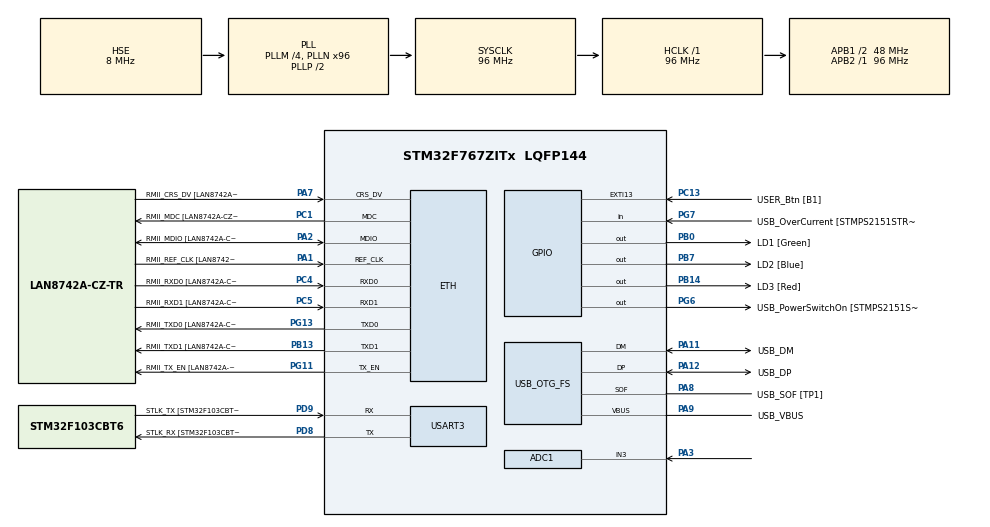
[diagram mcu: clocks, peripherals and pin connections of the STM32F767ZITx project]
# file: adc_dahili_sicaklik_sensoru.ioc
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ADC1.Channel-0\#ChannelRegularConversion=ADC_CHANNEL_3
ADC1.Channel-1\#ChannelRegularConversion=ADC_CHANNEL_VREFINT
ADC1.Channel-2\#ChannelRegularConversion=ADC_CHANNEL_TEMPSENSOR
ADC1.ContinuousConvMode=ENABLE
ADC1.NbrOfConversion=3
ADC1.NbrOfConversionFlag=1
ADC1.Rank-0\#ChannelRegularConversion=1
ADC1.Rank-1\#ChannelRegularConversion=2
ADC1.Rank-2\#ChannelRegularConversion=3
ADC1.SamplingTime-0\#ChannelRegularConversion=ADC_SAMPLETIME_56CYCLES
ADC1.SamplingTime-1\#ChannelRegularConversion=ADC_SAMPLETIME_56CYCLES
ADC1.SamplingTime-2\#ChannelRegularConversion=ADC_SAMPLETIME_56CYCLES
ADC1.master=1
CORTEX_M7.default_mode_Activation=1
ETH.MediaInterface=HAL_ETH_RMII_MODE
ETH.PHY_Name=LAN8742A_PHY_ADDRESS
ETH.PHY_Value=0
ETH.PhyAddress=0
Mcu.Family=STM32F7
Mcu.Name=STM32F767ZITx
Mcu.Package=LQFP144
NVIC.PriorityGroup=NVIC_PRIORITYGROUP_4
PA1.GPIO_Label=RMII_REF_CLK [LAN8742A-CZ-TR_REFCLK0]
PA1.Mode=RMII
PA1.Signal=ETH_REF_CLK
PA10.GPIO_Label=USB_ID
PA10.Signal=USB_OTG_FS_ID
PA11.GPIO_Label=USB_DM
PA11.Mode=Device_Only
PA11.Signal=USB_OTG_FS_DM
PA12.GPIO_Label=USB_DP
PA12.Mode=Device_Only
PA12.Signal=USB_OTG_FS_DP
PA13.GPIO_Label=TMS
PA13.Mode=Serial_Wire
PA13.Signal=SYS_JTMS-SWDIO
PA14.GPIO_Label=TCK
PA14.Mode=Serial_Wire
PA14.Signal=SYS_JTCK-SWCLK
PA2.GPIO_Label=RMII_MDIO [LAN8742A-CZ-TR_MDIO]
PA2.Mode=RMII
PA2.Signal=ETH_MDIO
PA3.Signal=ADCx_IN3
PA7.GPIO_Label=RMII_CRS_DV [LAN8742A-CZ-TR_CRS_DV]
PA7.Mode=RMII
PA7.Signal=ETH_CRS_DV
PA8.GPIO_Label=USB_SOF [TP1]
PA8.Mode=Activate_SOF_FS
PA8.Signal=USB_OTG_FS_SOF
PA9.GPIO_Label=USB_VBUS
PA9.Mode=Activate_VBUS
PA9.Signal=USB_OTG_FS_VBUS
PB0.GPIO_Label=LD1 [Green]
PB0.Signal=GPIO_Output
PB13.GPIO_Label=RMII_TXD1 [LAN8742A-CZ-TR_TXD1]
PB13.Mode=RMII
PB13.Signal=ETH_TXD1
PB14.GPIO_Label=LD3 [Red]
PB14.Signal=GPIO_Output
PB3.GPIO_Label=SWO
PB3.Signal=SYS_JTDO-SWO
PB7.GPIO_Label=LD2 [Blue]
PB7.Signal=GPIO_Output
PC1.GPIO_Label=RMII_MDC [LAN8742A-CZ-TR_MDC]
PC1.Mode=RMII
PC1.Signal=ETH_MDC
PC13.GPIO_Label=USER_Btn [B1]
PC13.Signal=GPXTI13
PC14/OSC32_IN.Mode=LSE-External-Oscillator
PC14/OSC32_IN.Signal=RCC_OSC32_IN
PC15/OSC32_OUT.Mode=LSE-External-Oscillator
PC15/OSC32_OUT.Signal=RCC_OSC32_OUT
PC4.GPIO_Label=RMII_RXD0 [LAN8742A-CZ-TR_RXD0]
PC4.Mode=RMII
PC4.Signal=ETH_RXD0
PC5.GPIO_Label=RMII_RXD1 [LAN8742A-CZ-TR_RXD1]
PC5.Mode=RMII
PC5.Signal=ETH_RXD1
PD8.GPIO_Label=STLK_RX [STM32F103CBT6_PA3]
PD8.Mode=Asynchronous
PD8.Signal=USART3_TX
PD9.GPIO_Label=STLK_TX [STM32F103CBT6_PA2]
PD9.Mode=Asynchronous
PD9.Signal=USART3_RX
PG11.GPIO_Label=RMII_TX_EN [LAN8742A-CZ-TR_TXEN]
PG11.Mode=RMII
PG11.Signal=ETH_TX_EN
PG13.GPIO_Label=RMII_TXD0 [LAN8742A-CZ-TR_TXD0]
PG13.Mode=RMII
PG13.Signal=ETH_TXD0
PG6.GPIO_Label=USB_PowerSwitchOn [STMPS2151STR_EN]
PG6.Signal=GPIO_Output
PG7.GPIO_Label=USB_OverCurrent [STMPS2151STR_FAULT]
PG7.Signal=GPIO_Input
PH0/OSC_IN.GPIO_Label=MCO [STM32F103CBT6_PA8]
PH0/OSC_IN.Mode=HSE-External-Clock-Source
PH0/OSC_IN.Signal=RCC_OSC_IN
PH1/OSC_OUT.Mode=HSE-External-Clock-Source
PH1/OSC_OUT.Signal=RCC_OSC_OUT
ProjectManager.HeapSize=0x200
ProjectManager.StackSize=0x400
ProjectManager.TargetToolchain=STM32CubeIDE
RCC.48MHZClocksFreq_Value=24000000
RCC.AHBFreq_Value=96000000
RCC.APB1CLKDivider=RCC_HCLK_DIV2
RCC.APB1Freq_Value=48000000
RCC.APB1TimFreq_Value=96000000
RCC.APB2Freq_Value=96000000
RCC.APB2TimFreq_Value=96000000
RCC.CortexFreq_Value=96000000
RCC.HCLKFreq_Value=96000000
RCC.HSE_VALUE=8000000
RCC.HSI_VALUE=16000000
RCC.PLLM=4
RCC.PLLMUL=RCC_PLL_MUL9
RCC.PLLN=96
RCC.PLLQ=4
RCC.PRESCALERUSB=RCC_USBCLKSOURCE_PLL_DIV1_5
RCC.SYSCLKFreq_VALUE=96000000
RCC.SYSCLKSource=RCC_SYSCLKSOURCE_PLLCLK
RCC.SYSCLKSourceVirtual=RCC_SYSCLKSOURCE_PLLCLK
RCC.USBFreq_Value=48000000
RCC.VCOOutputFreq_Value=192000000
SH.ADCx_IN3.0=ADC1_IN3,IN3
USART3.VirtualMode-Asynchronous=VM_ASYNC
USB_OTG_FS.VirtualMode=Device_Only
VP_ADC1_TempSens_Input.Mode=IN-TempSens
VP_ADC1_Vref_Input.Mode=IN-Vrefint
board=NUCLEO-F767ZI

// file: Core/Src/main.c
/* USER CODE BEGIN Header */
/**
  ******************************************************************************
  * @file           : main.c
  * @brief          : Main program body
  ******************************************************************************
  * @attention
  *
  * Copyright (c) 2026 STMicroelectronics.
  * All rights reserved.
  *
  * This software is licensed under terms that can be found in the LICENSE file
  * in the root directory of this software component.
  * If no LICENSE file comes with this software, it is provided AS-IS.
  *
  ******************************************************************************
  */
/* USER CODE END Header */
#include "main.h"
#include "string.h"

/* USER CODE BEGIN Includes */
#include "stm32f7xx_ll_adc.h"
/* USER CODE END Includes */

/* USER CODE BEGIN PD */
#define V25  (float)0.76
#define AVG_SlOPE (float)0.0025
/* USER CODE END PD */

#if defined ( __ICCARM__ ) /*!< IAR Compiler */
#pragma location=0x2007c000
ETH_DMADescTypeDef  DMARxDscrTab[ETH_RX_DESC_CNT]; /* Ethernet Rx DMA Descriptors */
#pragma location=0x2007c0a0
ETH_DMADescTypeDef  DMATxDscrTab[ETH_TX_DESC_CNT]; /* Ethernet Tx DMA Descriptors */

#elif defined ( __CC_ARM )  /* MDK ARM Compiler */

__attribute__((at(0x2007c000))) ETH_DMADescTypeDef  DMARxDscrTab[ETH_RX_DESC_CNT]; /* Ethernet Rx DMA Descriptors */
__attribute__((at(0x2007c0a0))) ETH_DMADescTypeDef  DMATxDscrTab[ETH_TX_DESC_CNT]; /* Ethernet Tx DMA Descriptors */

#elif defined ( __GNUC__ ) /* GNU Compiler */

ETH_DMADescTypeDef DMARxDscrTab[ETH_RX_DESC_CNT] __attribute__((section(".RxDecripSection"))); /* Ethernet Rx DMA Descriptors */
ETH_DMADescTypeDef DMATxDscrTab[ETH_TX_DESC_CNT] __attribute__((section(".TxDecripSection")));   /* Ethernet Tx DMA Descriptors */
#endif

ETH_TxPacketConfig TxConfig;

ADC_HandleTypeDef hadc1;

ETH_HandleTypeDef heth;

UART_HandleTypeDef huart3;

PCD_HandleTypeDef hpcd_USB_OTG_FS;

/* USER CODE BEGIN PV */
uint32_t analogVeriler;
uint32_t analogDatas[3];
uint8_t indx;
float analogVoltaji;
float VDDA_Voltage, Input_Voltage;

float Vsense;
float temperature;
/* USER CODE END PV */

void SystemClock_Config(void);
static void MPU_Config(void);
static void MX_GPIO_Init(void);
static void MX_ETH_Init(void);
static void MX_USART3_UART_Init(void);
static void MX_USB_OTG_FS_PCD_Init(void);
static void MX_ADC1_Init(void);

/* USER CODE BEGIN 0 */
void Read_Real_ADC_Voltage(void)
{
    if(indx == 0)

        HAL_ADC_Start(&hadc1);

    if(HAL_ADC_PollForConversion(&hadc1, HAL_MAX_DELAY) == HAL_OK)
    {
        analogDatas[indx] = HAL_ADC_GetValue(&hadc1);
        indx++;

        if(indx >= 3)
        {
            indx = 0;
            HAL_ADC_Stop(&hadc1);

            VDDA_Voltage  = ((float)VREFINT_CAL_VREF / 1000) * ((float)(*VREFINT_CAL_ADDR) / (float)analogDatas[1]);
            Input_Voltage = VDDA_Voltage * (float)analogDatas[0] / 4095.0;
            Vsense        =VDDA_Voltage*(float)analogDatas[2] /4095.0;
            temperature   =((Vsense-V25)/AVG_SlOPE)+(float)25;
        }
    }
}
/* USER CODE END 0 */

int main(void)
{

  /* MPU Configuration--------------------------------------------------------*/
  MPU_Config();

  /* MCU Configuration--------------------------------------------------------*/

  /* Reset of all peripherals, Initializes the Flash interface and the Systick. */
  HAL_Init();

  /* Configure the system clock */
  SystemClock_Config();

  /* Initialize all configured peripherals */
  MX_GPIO_Init();
  MX_ETH_Init();
  MX_USART3_UART_Init();
  MX_USB_OTG_FS_PCD_Init();
  MX_ADC1_Init();

  /* Infinite loop */
  /* USER CODE BEGIN WHILE */
  while (1)
  {

	  Read_Real_ADC_Voltage();
    /* USER CODE END WHILE */

  }
}

void SystemClock_Config(void)
{
  RCC_OscInitTypeDef RCC_OscInitStruct = {0};
  RCC_ClkInitTypeDef RCC_ClkInitStruct = {0};

  /** Configure LSE Drive Capability
  */
  HAL_PWR_EnableBkUpAccess();

  /** Configure the main internal regulator output voltage
  */
  __HAL_RCC_PWR_CLK_ENABLE();
  __HAL_PWR_VOLTAGESCALING_CONFIG(PWR_REGULATOR_VOLTAGE_SCALE3);

  /** Initializes the RCC Oscillators according to the specified parameters
  * in the RCC_OscInitTypeDef structure.
  */
  RCC_OscInitStruct.OscillatorType = RCC_OSCILLATORTYPE_HSE;
  RCC_OscInitStruct.HSEState = RCC_HSE_BYPASS;
  RCC_OscInitStruct.PLL.PLLState = RCC_PLL_ON;
  RCC_OscInitStruct.PLL.PLLSource = RCC_PLLSOURCE_HSE;
  RCC_OscInitStruct.PLL.PLLM = 4;
  RCC_OscInitStruct.PLL.PLLN = 96;
  RCC_OscInitStruct.PLL.PLLP = RCC_PLLP_DIV2;
  RCC_OscInitStruct.PLL.PLLQ = 4;
  RCC_OscInitStruct.PLL.PLLR = 2;
  if (HAL_RCC_OscConfig(&RCC_OscInitStruct) != HAL_OK)
  {
    Error_Handler();
  }

  /** Activate the Over-Drive mode
  */
  if (HAL_PWREx_EnableOverDrive() != HAL_OK)
  {
    Error_Handler();
  }

  /** Initializes the CPU, AHB and APB buses clocks
  */
  RCC_ClkInitStruct.ClockType = RCC_CLOCKTYPE_HCLK|RCC_CLOCKTYPE_SYSCLK
                              |RCC_CLOCKTYPE_PCLK1|RCC_CLOCKTYPE_PCLK2;
  RCC_ClkInitStruct.SYSCLKSource = RCC_SYSCLKSOURCE_PLLCLK;
  RCC_ClkInitStruct.AHBCLKDivider = RCC_SYSCLK_DIV1;
  RCC_ClkInitStruct.APB1CLKDivider = RCC_HCLK_DIV2;
  RCC_ClkInitStruct.APB2CLKDivider = RCC_HCLK_DIV1;

  if (HAL_RCC_ClockConfig(&RCC_ClkInitStruct, FLASH_LATENCY_3) != HAL_OK)
  {
    Error_Handler();
  }
}

static void MX_ADC1_Init(void)
{

  ADC_ChannelConfTypeDef sConfig = {0};

  /** Configure the global features of the ADC (Clock, Resolution, Data Alignment and number of conversion)
  */
  hadc1.Instance = ADC1;
  hadc1.Init.ClockPrescaler = ADC_CLOCK_SYNC_PCLK_DIV4;
  hadc1.Init.Resolution = ADC_RESOLUTION_12B;
  hadc1.Init.ScanConvMode = ADC_SCAN_ENABLE;
  hadc1.Init.ContinuousConvMode = ENABLE;
  hadc1.Init.DiscontinuousConvMode = DISABLE;
  hadc1.Init.ExternalTrigConvEdge = ADC_EXTERNALTRIGCONVEDGE_NONE;
  hadc1.Init.ExternalTrigConv = ADC_SOFTWARE_START;
  hadc1.Init.DataAlign = ADC_DATAALIGN_RIGHT;
  hadc1.Init.NbrOfConversion = 3;
  hadc1.Init.DMAContinuousRequests = DISABLE;
  hadc1.Init.EOCSelection = ADC_EOC_SINGLE_CONV;
  if (HAL_ADC_Init(&hadc1) != HAL_OK)
  {
    Error_Handler();
  }

  /** Configure for the selected ADC regular channel its corresponding rank in the sequencer and its sample time.
  */
  sConfig.Channel = ADC_CHANNEL_3;
  sConfig.Rank = ADC_REGULAR_RANK_1;
  sConfig.SamplingTime = ADC_SAMPLETIME_56CYCLES;
  if (HAL_ADC_ConfigChannel(&hadc1, &sConfig) != HAL_OK)
  {
    Error_Handler();
  }

  /** Configure for the selected ADC regular channel its corresponding rank in the sequencer and its sample time.
  */
  sConfig.Channel = ADC_CHANNEL_VREFINT;
  sConfig.Rank = ADC_REGULAR_RANK_2;
  if (HAL_ADC_ConfigChannel(&hadc1, &sConfig) != HAL_OK)
  {
    Error_Handler();
  }

  /** Configure for the selected ADC regular channel its corresponding rank in the sequencer and its sample time.
  */
  sConfig.Channel = ADC_CHANNEL_TEMPSENSOR;
  sConfig.Rank = ADC_REGULAR_RANK_3;
  if (HAL_ADC_ConfigChannel(&hadc1, &sConfig) != HAL_OK)
  {
    Error_Handler();
  }

}

static void MX_ETH_Init(void)
{

   static uint8_t MACAddr[6];

  heth.Instance = ETH;
  MACAddr[0] = 0x00;
  MACAddr[1] = 0x80;
  MACAddr[2] = 0xE1;
  MACAddr[3] = 0x00;
  MACAddr[4] = 0x00;
  MACAddr[5] = 0x00;
  heth.Init.MACAddr = &MACAddr[0];
  heth.Init.MediaInterface = HAL_ETH_RMII_MODE;
  heth.Init.TxDesc = DMATxDscrTab;
  heth.Init.RxDesc = DMARxDscrTab;
  heth.Init.RxBuffLen = 1524;

  if (HAL_ETH_Init(&heth) != HAL_OK)
  {
    Error_Handler();
  }

  memset(&TxConfig, 0 , sizeof(ETH_TxPacketConfig));
  TxConfig.Attributes = ETH_TX_PACKETS_FEATURES_CSUM | ETH_TX_PACKETS_FEATURES_CRCPAD;
  TxConfig.ChecksumCtrl = ETH_CHECKSUM_IPHDR_PAYLOAD_INSERT_PHDR_CALC;
  TxConfig.CRCPadCtrl = ETH_CRC_PAD_INSERT;

}

static void MX_USART3_UART_Init(void)
{

  huart3.Instance = USART3;
  huart3.Init.BaudRate = 115200;
  huart3.Init.WordLength = UART_WORDLENGTH_8B;
  huart3.Init.StopBits = UART_STOPBITS_1;
  huart3.Init.Parity = UART_PARITY_NONE;
  huart3.Init.Mode = UART_MODE_TX_RX;
  huart3.Init.HwFlowCtl = UART_HWCONTROL_NONE;
  huart3.Init.OverSampling = UART_OVERSAMPLING_16;
  huart3.Init.OneBitSampling = UART_ONE_BIT_SAMPLE_DISABLE;
  huart3.AdvancedInit.AdvFeatureInit = UART_ADVFEATURE_NO_INIT;
  if (HAL_UART_Init(&huart3) != HAL_OK)
  {
    Error_Handler();
  }

}

static void MX_USB_OTG_FS_PCD_Init(void)
{

  hpcd_USB_OTG_FS.Instance = USB_OTG_FS;
  hpcd_USB_OTG_FS.Init.dev_endpoints = 6;
  hpcd_USB_OTG_FS.Init.speed = PCD_SPEED_FULL;
  hpcd_USB_OTG_FS.Init.dma_enable = DISABLE;
  hpcd_USB_OTG_FS.Init.phy_itface = PCD_PHY_EMBEDDED;
  hpcd_USB_OTG_FS.Init.Sof_enable = ENABLE;
  hpcd_USB_OTG_FS.Init.low_power_enable = DISABLE;
  hpcd_USB_OTG_FS.Init.lpm_enable = DISABLE;
  hpcd_USB_OTG_FS.Init.vbus_sensing_enable = ENABLE;
  hpcd_USB_OTG_FS.Init.use_dedicated_ep1 = DISABLE;
  if (HAL_PCD_Init(&hpcd_USB_OTG_FS) != HAL_OK)
  {
    Error_Handler();
  }

}

static void MX_GPIO_Init(void)
{
  GPIO_InitTypeDef GPIO_InitStruct = {0};

  /* GPIO Ports Clock Enable */
  __HAL_RCC_GPIOC_CLK_ENABLE();
  __HAL_RCC_GPIOH_CLK_ENABLE();
  __HAL_RCC_GPIOA_CLK_ENABLE();
  __HAL_RCC_GPIOB_CLK_ENABLE();
  __HAL_RCC_GPIOD_CLK_ENABLE();
  __HAL_RCC_GPIOG_CLK_ENABLE();

  /*Configure GPIO pin Output Level */
  HAL_GPIO_WritePin(GPIOB, LD1_Pin|LD3_Pin|LD2_Pin, GPIO_PIN_RESET);

  /*Configure GPIO pin Output Level */
  HAL_GPIO_WritePin(USB_PowerSwitchOn_GPIO_Port, USB_PowerSwitchOn_Pin, GPIO_PIN_RESET);

  /*Configure GPIO pin : USER_Btn_Pin */
  GPIO_InitStruct.Pin = USER_Btn_Pin;
  GPIO_InitStruct.Mode = GPIO_MODE_IT_RISING;
  GPIO_InitStruct.Pull = GPIO_NOPULL;
  HAL_GPIO_Init(USER_Btn_GPIO_Port, &GPIO_InitStruct);

  /*Configure GPIO pins : LD1_Pin LD3_Pin LD2_Pin */
  GPIO_InitStruct.Pin = LD1_Pin|LD3_Pin|LD2_Pin;
  GPIO_InitStruct.Mode = GPIO_MODE_OUTPUT_PP;
  GPIO_InitStruct.Pull = GPIO_NOPULL;
  GPIO_InitStruct.Speed = GPIO_SPEED_FREQ_LOW;
  HAL_GPIO_Init(GPIOB, &GPIO_InitStruct);

  /*Configure GPIO pin : USB_PowerSwitchOn_Pin */
  GPIO_InitStruct.Pin = USB_PowerSwitchOn_Pin;
  GPIO_InitStruct.Mode = GPIO_MODE_OUTPUT_PP;
  GPIO_InitStruct.Pull = GPIO_NOPULL;
  GPIO_InitStruct.Speed = GPIO_SPEED_FREQ_LOW;
  HAL_GPIO_Init(USB_PowerSwitchOn_GPIO_Port, &GPIO_InitStruct);

  /*Configure GPIO pin : USB_OverCurrent_Pin */
  GPIO_InitStruct.Pin = USB_OverCurrent_Pin;
  GPIO_InitStruct.Mode = GPIO_MODE_INPUT;
  GPIO_InitStruct.Pull = GPIO_NOPULL;
  HAL_GPIO_Init(USB_OverCurrent_GPIO_Port, &GPIO_InitStruct);

}

 /* MPU Configuration */

void MPU_Config(void)
{
  MPU_Region_InitTypeDef MPU_InitStruct = {0};

  /* Disables the MPU */
  HAL_MPU_Disable();

  /** Initializes and configures the Region and the memory to be protected
  */
  MPU_InitStruct.Enable = MPU_REGION_ENABLE;
  MPU_InitStruct.Number = MPU_REGION_NUMBER0;
  MPU_InitStruct.BaseAddress = 0x0;
  MPU_InitStruct.Size = MPU_REGION_SIZE_4GB;
  MPU_InitStruct.SubRegionDisable = 0x87;
  MPU_InitStruct.TypeExtField = MPU_TEX_LEVEL0;
  MPU_InitStruct.AccessPermission = MPU_REGION_NO_ACCESS;
  MPU_InitStruct.DisableExec = MPU_INSTRUCTION_ACCESS_DISABLE;
  MPU_InitStruct.IsShareable = MPU_ACCESS_SHAREABLE;
  MPU_InitStruct.IsCacheable = MPU_ACCESS_NOT_CACHEABLE;
  MPU_InitStruct.IsBufferable = MPU_ACCESS_NOT_BUFFERABLE;

  HAL_MPU_ConfigRegion(&MPU_InitStruct);
  /* Enables the MPU */
  HAL_MPU_Enable(MPU_PRIVILEGED_DEFAULT);

}

void Error_Handler(void)
{
  __disable_irq();
  while (1)
  {
  }
}
